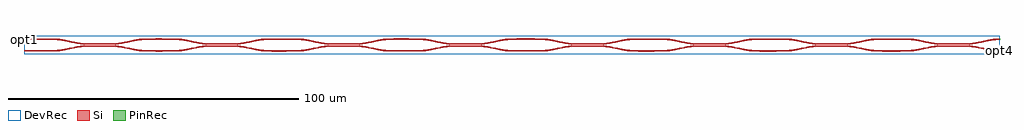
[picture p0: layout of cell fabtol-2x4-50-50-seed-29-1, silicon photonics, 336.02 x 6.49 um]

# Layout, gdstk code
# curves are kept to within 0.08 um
import gdstk
lib = gdstk.Library(unit=1e-6, precision=1e-09)
def R(c, l, rs):  # rectangles x0, y0, x1, y1
    for r in rs: c.add(gdstk.rectangle(r[:2], r[2:], *l))
def P(c, l, *ps):  # polygons
    for p in ps: c.add(gdstk.Polygon(p, *l))
Si = (1, 0)
PinRec = (1, 10)
DevRec = (68, 0)

layer_3_0_phase_sec_3_14 = lib.new_cell('layer-3_0_phase_sec_3$14')
P(layer_3_0_phase_sec_3_14, Si, [(6.078,-0.242),(0,-0.225),(0,0.225),(10,0.225),(10,-0.225)])

layer_0_0_phase_sec_0_14 = lib.new_cell('layer-0_0_phase_sec_0$14')
P(layer_0_0_phase_sec_0_14, Si, [(2.084,-0.228),(0,-0.225),(0,0.225),(10,0.225),(10,-0.225)])

layer_3_0_phase_sec_1_14 = lib.new_cell('layer-3_0_phase_sec_1$14')
P(layer_3_0_phase_sec_1_14, Si, [(6.912,-0.243),(0,-0.225),(0,0.225),(10,0.225),(10,-0.225)])

layer_0_0_phase_sec_2_14 = lib.new_cell('layer-0_0_phase_sec_2$14')
P(layer_0_0_phase_sec_2_14, Si, [(3.288,-0.242),(0,-0.225),(0,0.225),(10,0.225),(10,-0.225)])

layer_0_0_phase_sec_1_14 = lib.new_cell('layer-0_0_phase_sec_1$14')
P(layer_0_0_phase_sec_1_14, Si, [(2.431,-0.228),(0,-0.225),(0,0.225),(10,0.225),(10,-0.225)])

dc_arm_down_14 = lib.new_cell('dc_arm_down$14')
R(dc_arm_down_14, Si, [(12,-0.55,20,-0.1)])
P(dc_arm_down_14, Si, [(32,-2.225),(30.861,-2.188),(29.344,-2.033),(22.966,-0.793),(21.481,-0.613),(20,-0.55),(20,-0.1),(21.139,-0.137),(22.656,-0.292),(29.034,-1.532),(30.519,-1.712),(32,-1.775)],
  [(0,-2.225),(0,-1.775),(1.481,-1.712),(2.966,-1.532),(9.344,-0.292),(10.861,-0.137),(12,-0.1),(12,-0.55),(10.519,-0.613),(9.034,-0.793),(2.656,-2.033),(1.139,-2.188)])

dc_arm_up_14 = lib.new_cell('dc_arm_up$14')
R(dc_arm_up_14, Si, [(12,0.1,20,0.55)])
P(dc_arm_up_14, Si, [(20,0.1),(20,0.55),(21.481,0.613),(22.966,0.793),(29.344,2.033),(30.861,2.188),(32,2.225),(32,1.775),(30.519,1.712),(29.034,1.532),(22.656,0.292),(21.139,0.137)],
  [(12,0.1),(10.861,0.137),(9.344,0.292),(2.966,1.532),(1.481,1.712),(0,1.775),(0,2.225),(1.139,2.188),(2.656,2.033),(9.034,0.793),(10.519,0.613),(12,0.55)])

dc_14 = lib.new_cell('dc$14')
dc_14.add(gdstk.Reference(dc_arm_down_14, (0,0)))
dc_14.add(gdstk.Reference(dc_arm_up_14, (0,0)))

layer_1_0_phase_sec_0_14 = lib.new_cell('layer-1_0_phase_sec_0$14')
P(layer_1_0_phase_sec_0_14, Si, [(1.153,-0.236),(0,-0.225),(0,0.225),(10,0.225),(10,-0.225)])

layer_3_0_phase_sec_0_14 = lib.new_cell('layer-3_0_phase_sec_0$14')
P(layer_3_0_phase_sec_0_14, Si, [(1.406,-0.237),(0,-0.225),(0,0.225),(10,0.225),(10,-0.225)])

layer_1_0_phase_sec_1_14 = lib.new_cell('layer-1_0_phase_sec_1$14')
P(layer_1_0_phase_sec_1_14, Si, [(2.541,-0.241),(0,-0.225),(0,0.225),(10,0.225),(10,-0.225)])

layer_1_0_phase_sec_2_14 = lib.new_cell('layer-1_0_phase_sec_2$14')
P(layer_1_0_phase_sec_2_14, Si, [(5.18,-0.247),(0,-0.225),(0,0.225),(10,0.225),(10,-0.225)])

layer_3_0_phase_sec_2_14 = lib.new_cell('layer-3_0_phase_sec_2$14')
P(layer_3_0_phase_sec_2_14, Si, [(4.424,-0.238),(0,-0.225),(0,0.225),(10,0.225),(10,-0.225)])

layer_1_0_phase_sec_3_14 = lib.new_cell('layer-1_0_phase_sec_3$14')
P(layer_1_0_phase_sec_3_14, Si, [(3.697,-0.232),(0,-0.225),(0,0.225),(10,0.225),(10,-0.225)])

layer_2_0_phase_sec_3_14 = lib.new_cell('layer-2_0_phase_sec_3$14')
P(layer_2_0_phase_sec_3_14, Si, [(5.524,-0.246),(0,-0.225),(0,0.225),(10,0.225),(10,-0.225)])

layer_2_0_phase_sec_0_14 = lib.new_cell('layer-2_0_phase_sec_0$14')
P(layer_2_0_phase_sec_0_14, Si, [(4.678,-0.248),(0,-0.225),(0,0.225),(10,0.225),(10,-0.225)])

layer_2_0_phase_sec_1_14 = lib.new_cell('layer-2_0_phase_sec_1$14')
P(layer_2_0_phase_sec_1_14, Si, [(2.855,-0.232),(0,-0.225),(0,0.225),(10,0.225),(10,-0.225)])

layer_0_0_phase_sec_3_14 = lib.new_cell('layer-0_0_phase_sec_3$14')
P(layer_0_0_phase_sec_3_14, Si, [(3.362,-0.239),(0,-0.225),(0,0.225),(10,0.225),(10,-0.225)])

layer_2_0_phase_sec_2_14 = lib.new_cell('layer-2_0_phase_sec_2$14')
P(layer_2_0_phase_sec_2_14, Si, [(1.073,-0.232),(0,-0.225),(0,0.225),(10,0.225),(10,-0.225)])

fabtol_2x4_50_50_seed_29 = lib.new_cell('fabtol-2x4-50-50-seed-29-1')
R(fabtol_2x4_50_50_seed_29, DevRec, [(0,-1,336,5.494)])
fabtol_2x4_50_50_seed_29.add(gdstk.FlexPath([(335.99,0.246),(336.01,0.246)], 0.45, ends="flush", simple_path=True, layer=1, datatype=10))  # PinRec
fabtol_2x4_50_50_seed_29.add(gdstk.FlexPath([(335.99,4.246),(336.01,4.246)], 0.45, ends="flush", simple_path=True, layer=1, datatype=10))  # PinRec
fabtol_2x4_50_50_seed_29.add(gdstk.FlexPath([(0.01,4.246),(-0.01,4.246)], 0.45, ends="flush", simple_path=True, layer=1, datatype=10))  # PinRec
fabtol_2x4_50_50_seed_29.add(gdstk.Reference(layer_3_0_phase_sec_3_14, (294,0.246)))
fabtol_2x4_50_50_seed_29.add(gdstk.Reference(layer_0_0_phase_sec_0_14, (0,4.246)))
fabtol_2x4_50_50_seed_29.add(gdstk.Reference(layer_3_0_phase_sec_1_14, (252,0.246)))
fabtol_2x4_50_50_seed_29.add(gdstk.Reference(layer_0_0_phase_sec_2_14, (42,4.246)))
fabtol_2x4_50_50_seed_29.add(gdstk.Reference(layer_0_0_phase_sec_1_14, (0,0.246)))
fabtol_2x4_50_50_seed_29.add(gdstk.Reference(dc_14, (10,2.246)))
fabtol_2x4_50_50_seed_29.add(gdstk.Reference(dc_14, (52,2.246)))
fabtol_2x4_50_50_seed_29.add(gdstk.Reference(dc_14, (94,2.246)))
fabtol_2x4_50_50_seed_29.add(gdstk.Reference(dc_14, (136,2.246)))
fabtol_2x4_50_50_seed_29.add(gdstk.Reference(dc_14, (178,2.246)))
fabtol_2x4_50_50_seed_29.add(gdstk.Reference(dc_14, (220,2.246)))
fabtol_2x4_50_50_seed_29.add(gdstk.Reference(dc_14, (262,2.246)))
fabtol_2x4_50_50_seed_29.add(gdstk.Reference(dc_14, (304,2.246)))
fabtol_2x4_50_50_seed_29.add(gdstk.Reference(layer_1_0_phase_sec_0_14, (84,4.246)))
fabtol_2x4_50_50_seed_29.add(gdstk.Reference(layer_3_0_phase_sec_0_14, (252,4.246)))
fabtol_2x4_50_50_seed_29.add(gdstk.Reference(layer_1_0_phase_sec_1_14, (84,0.246)))
fabtol_2x4_50_50_seed_29.add(gdstk.Reference(layer_1_0_phase_sec_2_14, (126,4.246)))
fabtol_2x4_50_50_seed_29.add(gdstk.Reference(layer_3_0_phase_sec_2_14, (294,4.246)))
fabtol_2x4_50_50_seed_29.add(gdstk.Reference(layer_1_0_phase_sec_3_14, (126,0.246)))
fabtol_2x4_50_50_seed_29.add(gdstk.Reference(layer_2_0_phase_sec_3_14, (210,0.246)))
fabtol_2x4_50_50_seed_29.add(gdstk.Reference(layer_2_0_phase_sec_0_14, (168,4.246)))
fabtol_2x4_50_50_seed_29.add(gdstk.Reference(layer_2_0_phase_sec_1_14, (168,0.246)))
fabtol_2x4_50_50_seed_29.add(gdstk.Reference(layer_0_0_phase_sec_3_14, (42,0.246)))
fabtol_2x4_50_50_seed_29.add(gdstk.Reference(layer_2_0_phase_sec_2_14, (210,4.246)))
fabtol_2x4_50_50_seed_29.add(gdstk.Label('opt4', (336,0.246), layer=1, texttype=10))
fabtol_2x4_50_50_seed_29.add(gdstk.Label('opt3', (336,4.246), layer=1, texttype=10))
fabtol_2x4_50_50_seed_29.add(gdstk.Label('opt1', (0,4.246), layer=1, texttype=10))

lib.write_gds('fabtol-2x4-50-50-seed-29-1.gds')
